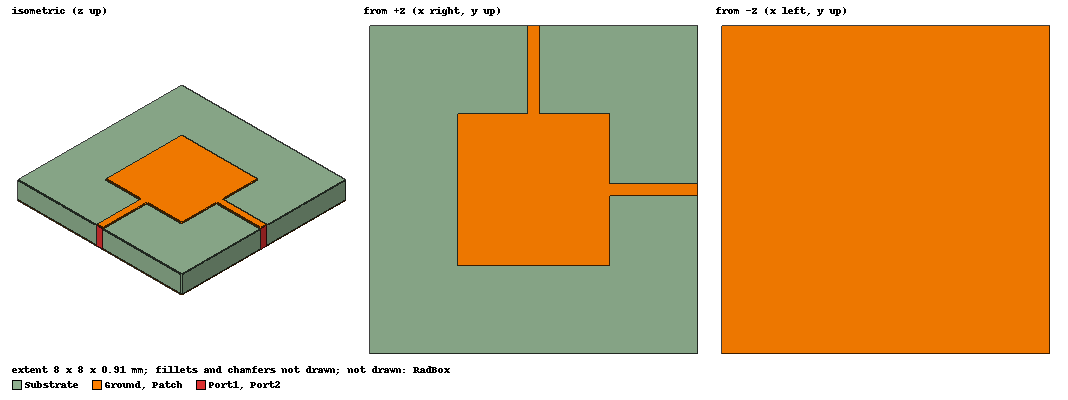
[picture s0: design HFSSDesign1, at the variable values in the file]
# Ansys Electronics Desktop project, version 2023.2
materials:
  vacuum: permittivity=1
  copper: permeability=0.999991 conductivity=58000000
  FR4_epoxy: permittivity=4.4 dielectric_loss_tangent=0.02
  air: permittivity=1.0006 permeability=1.0000004
  Rogers RO4003 (tm): permittivity=3.55 dielectric_loss_tangent=0.0027
  Al-Extruded
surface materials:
  Steel-oxidised-surface

design HFSSDesign1 (HFSS, HFSS Terminal Network, model units mm)
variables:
  Dth = 0.875mm
  Lp = 3.7mm
  Wp = 3.7mm
  We = 0.3mm
  Wf = 0.3mm
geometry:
  Ground [copper] = box(corner=(-4mm, -4mm, 0mm), size=(8mm, 8mm, 0.035mm))
  Substrate [FR4_epoxy] = box(corner=(-4mm, -4mm, 0.035mm), size=(8mm, 8mm, Dth-.035mm))
  Patch [copper] = box(corner=(-Lp/2, -Wp/2, Dth), size=(Lp, Wp, 0.035mm))
  Entrance1 = box(corner=(Lp/2, -0.15mm, Dth), size=(We, 0.3mm, 0.035mm))
  Entrance2 = box(corner=(-0.15mm, Wp/2, Dth), size=(0.3mm, We, 0.035mm))
  Feed1 = box(corner=(Lp/2+We, -Wf/2, Dth), size=(4mm-We-Lp/2, Wf, 0.035mm))
  Feed2 = box(corner=(Wf/2, Wp/2+We, Dth), size=(-Wf, 4mm-We-Wp/2, 0.035mm))
  Port1 = rectangle(corner=(4mm, -Wf/2, Dth+.035mm), y_size=Wf, z_size=-Dth-.035mm)
  Port2 = rectangle(corner=(-Wf/2, 4mm, Dth+.035mm), z_size=-Dth-.035mm, x_size=Wf)
  Patch.unite(Entrance1, Feed1, Entrance2, Feed2)
  RadBox [air] = box(corner=(-8mm, -8mm, -8mm), size=(16mm, 16mm, 16mm))
  Patch.chamfer(Edges=Patch.edge(12 of 12) LeftDistance=0.1mm RightDistance=0.1mm ChamferType=Symmetric ChamferAdditionalGeometryInfo{ChamferEdgeGeometryInfo{ChamferEdgeID=92 ChamferEdgeSense ChamferEdgeStart{X=1.85mm Y=1.85mm Z=0.875mm} ChamferEdgeEnd{X=1.85mm Y=1.85mm Z=0.91mm} ChamferEdgeMid{X=1.85mm Y=1.85mm Z=0.8925mm} ChamferEdgeMidTangent(0, 0, 1)}})
  Patch.chamfer(Edges=Patch.edge(10 of 12) LeftDistance=0.1mm RightDistance=0.1mm ChamferType=Symmetric ChamferAdditionalGeometryInfo{ChamferEdgeGeometryInfo{ChamferEdgeID=90 ChamferEdgeSense ChamferEdgeStart{X=1.85mm Y=-1.85mm Z=0.875mm} ChamferEdgeEnd{X=1.85mm Y=-1.85mm Z=0.91mm} ChamferEdgeMid{X=1.85mm Y=-1.85mm Z=0.8925mm} ChamferEdgeMidTangent(0, 0, 1)}})
  Patch.chamfer(Edges=Patch.edge(11 of 12) LeftDistance=0.1mm RightDistance=0.1mm ChamferType=Symmetric ChamferAdditionalGeometryInfo{ChamferEdgeGeometryInfo{ChamferEdgeID=91 ChamferEdgeSense ChamferEdgeStart{X=-1.85mm Y=1.85mm Z=0.875mm} ChamferEdgeEnd{X=-1.85mm Y=1.85mm Z=0.91mm} ChamferEdgeMid{X=-1.85mm Y=1.85mm Z=0.8925mm} ChamferEdgeMidTangent(0, 0, 1)}})
  Patch.chamfer(Edges=Patch.edge(9 of 12) LeftDistance=0.1mm RightDistance=0.1mm ChamferType=Symmetric ChamferAdditionalGeometryInfo{ChamferEdgeGeometryInfo{ChamferEdgeID=89 ChamferEdgeSense ChamferEdgeStart{X=-1.85mm Y=-1.85mm Z=0.875mm} ChamferEdgeEnd{X=-1.85mm Y=-1.85mm Z=0.91mm} ChamferEdgeMid{X=-1.85mm Y=-1.85mm Z=0.8925mm} ChamferEdgeMidTangent(0, 0, 1)}})
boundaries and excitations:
  Rad1: Radiation Objects=RadBox
  1: Lumped Port Objects=Port1 LumpedPortType=Modal Modes{Mode1{IntLine{(4, 0, 0.035) -> (4, 0, 0.91)} CharImp=Zpi}} Impedance=50ohm
  2: Lumped Port Objects=Port2 LumpedPortType=Modal Modes{Mode1{IntLine{(0, 4, 0.035) -> (0, 4, 0.91)} CharImp=Zpi}} Impedance=50ohm
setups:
  Setup1: HfssDriven Frequency=17GHz MaxDeltaS=0.02 MaximumPasses=6 MinimumPasses=1 MinimumConvergedPasses=1 PercentRefinement=30 BasisOrder=1 PortAccuracy=2 DrivenSolverType="Direct Solver"
    sweep Sweep: 8.5GHz to 25.5GHz, 401 points; Type=Fast SaveFields
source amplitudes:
  1:1: 1V 0deg
  2:1: 0V 0deg
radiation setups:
  Infinite Sphere1: Infinite Sphere Theta=0deg..180deg step 2deg Phi=0deg..360deg step 2deg
  Antenna Parameter Overlay1: Antenna Overlay  SetupID=1 Solution=93 IntrinsicVariation="Freq=17GHz" UseNominalDesign Calculations="Max U,Peak Directivity,Peak Gain,Radiation Efficiency,Front To Back Ratio,Total Efficiency,System Efficiency"
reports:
  S_parameters of Antenna: dB(St(1,1)), dB(St(1,2)), dB(St(2,2)) vs Freq on Setup1 : Sweep; markers m1 at 17GHz, m2 at 15.4275GHz, m3 at 15.4275GHz
  Gain: GainTotal vs Theta on Setup1 : LastAdaptive, Infinite Sphere1 [Phi=0deg Freq=17GHz]; markers m1 at 0deg
  rE Plot 1: dB(rECoPolar), dB(rECrossPolar) vs Theta on Setup1 : LastAdaptive, Infinite Sphere1 [Phi=0deg Freq=17GHz]; markers m1 at 0deg, m2 at 0deg, m3 at 178deg, m4 at 180deg
  Terminal Z Parameter Plot 1: mag(Zt(1,1)), mag(Zt(2,2)) vs Freq on Setup1 : Sweep; markers m1 at 17GHz
  Gain Plot 2: GainTotal vs Phi, Theta on Setup1 : LastAdaptive, Infinite Sphere1 [Freq=17GHz]
  Gain Plot 3: GainTotal vs Theta on Setup1 : LastAdaptive, Infinite Sphere1 [Phi=0deg Freq=17GHz]
  XPD at phi=0: dB(GainCoPolar)-dB(GainCrossPolar) vs Theta on Setup1 : LastAdaptive, Infinite Sphere1 [Phi=0deg Freq=17GHz]
  XPD Polar: dB(GainCoPolar)-dB(GainCrossPolar) vs Phi, Theta on Setup1 : LastAdaptive, Infinite Sphere1 [Freq=17GHz]
  Antenna Params Table 1: RadiationEfficiency vs Freq on Setup1 : LastAdaptive
  Terminal S Parameter Table 1: dB(St(1,1)) vs Freq on Setup1 : Sweep

design Circuit1 (Circuit)
options: SParamCircuitDef IntegrationMethod=FFT
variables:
  R_radiation = 48.5ohm
  R_Loss = 0.235029*R_radiation
  L_inductor = (8.7648*10^-23)/C_Capa H
  C_Capa = 0.015pF
  R_S_parameter_Response = 1.235029/((1/42.2)-(1/R_radiation))
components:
  C3 = CAP_(C=C_Capa)
  R4 = RES_(R=R_radiation)
  R8 = RES_(R=R_Loss)
  L9 = IND_(L=L_inductor)
  R1 = RES_(R=R_S_parameter_Response)
  port Port1 rz=50ohm iz=0ohm EnableNoise=false noisetemp=16.85cel
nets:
  0: L9.1
  net_4: L9.0, C3.0
  net_5: C3.1, R8.1, R1.1
  net_8: R4.1, R8.0
  Port1: R4.0, R1.0
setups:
  LinearFrequency: LinearFrequencyData(false, 0.1, false, "", false) SweepDefinition{Variable=Freq Data="LINC 7GHz 25GHz 100"}
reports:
  S Parameter Plot 2: dB(S(Port1,Port1)) vs Freq on LinearFrequency : LinearFrequency; dB(St(1,1)) vs Freq; markers m1 at 17GHz, m2 at 17GHz
